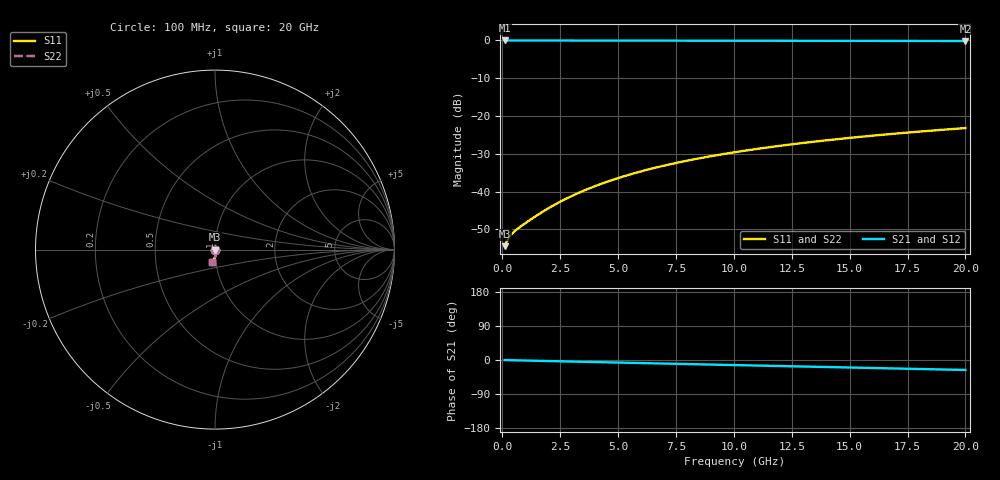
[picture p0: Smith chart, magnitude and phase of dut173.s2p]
! Touchstone file exported from HFSS 2026.1.0
!  File:  C:/ffzhzh/LocalFiles/Ansys_Project_Files/temp_train_TMRDL_173_1782983510_40604.aedt
!  Generated:  05:12:54 PM Jul  2, 2026
!  Design:  TMRDL
!  Project:  temp_train_TMRDL_173_1782983510_40604
! Variables:
!  h_bsmrdl = 2um
!  h_ox = 20um
!  h_rdl = 5um
!  h_sub = 80um
!  h_tmrdl = 4.64um
!  h_tsv = 80um
!  h_via = 3um
!  l_bsmrdl = 300um
!  l_sub = 864.15um
!  l_tmrdl = 464.15um
!  m_sub = 200um
!  pitch = 25.11um
!  r_tsv = 6um
!  s_tmrdl = 10um
!  w_bsmrdl = 18um
!  w_sub = 500um
!  w_tmrdl = 21.89um
!  x_tsv_center1 = 475.095um
!  x_tsv_center2 = 793.095um
!  x_tsv_center3 = 1279.135um
!  x_tsv_center4 = 1597.135um
!  x_tsv_center5 = 2083.175um
!  x_tsv_center6 = 2401.175um
# GHz S MA R 50.000000
! Terminal data exported
! Port[1] = TM_RDL1_1_T1
! Port[2] = TM_RDL1_1_T2
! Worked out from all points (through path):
!   200 points, 100 MHz to 20 GHz, reference 50 ohm
!   highest |S21| = -0.02 dB at 100 MHz (marker M1); lowest = -0.2 dB at 20 GHz (marker M2)
!   group delay of S21, straight-line fit = 3.63 ps
!   lowest |S11| = -54.4 dB at 100 MHz (marker M3), VSWR 1.00, Z = 50.2 + j0.0217 ohm
!   |S11| at or under -10 dB: start of sweep to end of sweep
!   |S22| runs from -54.4 to -23.2 dB; largest |S21 - S12| = 4.4e-15
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0.1  0.001895 6.5  0.9981 -0.2  0.9981 -0.2  0.001895 6.5
! Gamma 0 0 0 0
! Port Impedance 50 0 50 0
0.2  0.002203 6.3  0.9978 -0.3  0.9978 -0.3  0.002203 6.3
0.3  0.002494 2.1  0.9975 -0.5  0.9975 -0.5  0.002494 2.1
0.4  0.002732 -3.4  0.9973 -0.6  0.9973 -0.6  0.002732 -3.4
0.6  0.003116 -13.8  0.997 -0.9  0.997 -0.9  0.003116 -13.8
0.9  0.003646 -26.3  0.9967 -1.3  0.9967 -1.3  0.003646 -26.3
1.6  0.005076 -44.4  0.9962 -2.2  0.9962 -2.2  0.005076 -44.4
2.2  0.006536 -53.0  0.9958 -3.1  0.9958 -3.1  0.006536 -53.0
2.8  0.008161 -58.6  0.9953 -3.9  0.9953 -3.9  0.008161 -58.6
3.5  0.01022 -63.3  0.9946 -4.8  0.9946 -4.8  0.01022 -63.3
4.2  0.01243 -66.8  0.9939 -5.7  0.9939 -5.7  0.01243 -66.8
5  0.01508 -70.2  0.9931 -6.8  0.9931 -6.8  0.01507 -70.2
5.9  0.01818 -73.4  0.9923 -8.0  0.9923 -8.0  0.01818 -73.4
6.8  0.02137 -76.2  0.9914 -9.2  0.9914 -9.2  0.02136 -76.3
7.5  0.02389 -78.3  0.9908 -10.1  0.9908 -10.1  0.02388 -78.3
8.3  0.02679 -80.5  0.9902 -11.1  0.9902 -11.1  0.02679 -80.5
10.1  0.03338 -84.9  0.9887 -13.5  0.9887 -13.5  0.03338 -84.9
11.7  0.03926 -88.4  0.9875 -15.6  0.9875 -15.6  0.03925 -88.5
13.4  0.04549 -91.9  0.9863 -17.8  0.9863 -17.8  0.04548 -91.9
15  0.05132 -94.9  0.9852 -19.8  0.9852 -19.8  0.05131 -95.0
16.7  0.05747 -97.9  0.984 -22.0  0.984 -22.0  0.05745 -98.0
20  0.06919 -103.5  0.9817 -26.3  0.9817 -26.3  0.06917 -103.5
